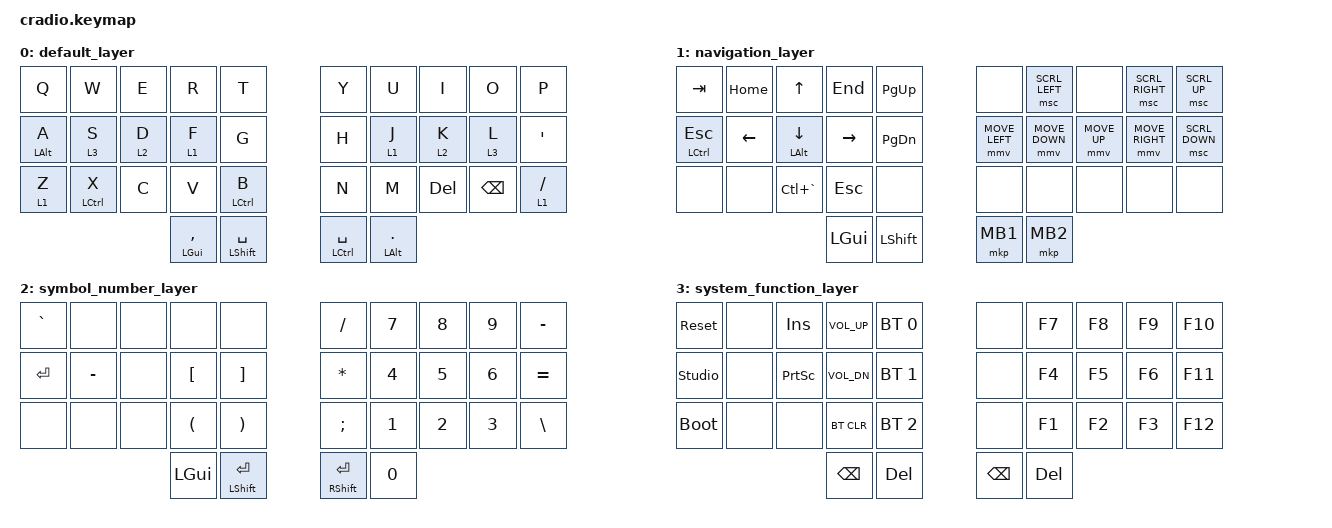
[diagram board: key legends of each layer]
// Copyright (c) 2022 The ZMK Contributors
// SPDX-License-Identifier: MIT

#include <behaviors.dtsi>
#include <dt-bindings/zmk/keys.h>
#include <dt-bindings/zmk/bt.h>
#include <dt-bindings/zmk/mouse.h>

// Top speed, not constant speed - see the &mmv ramp override below
#define ZMK_POINTING_DEFAULT_MOVE_VAL 1400  // default: 600
#define ZMK_POINTING_DEFAULT_SCRL_VAL 20    // default: 10

#include <dt-bindings/zmk/pointing.h>

// Stock &lt has no quick-tap or prior-idle guard, so fast home row rolls
// (df, sd, jk, kl) can fire a layer instead of a letter.
&lt {
    quick-tap-ms = <200>;
    require-prior-idle-ms = <125>;
};

// Longer ramp keeps short taps precise while holds still reach the higher
// top speed set by ZMK_POINTING_DEFAULT_MOVE_VAL.
&mmv {
    time-to-max-speed-ms = <700>;
};

// Home row mods macro
// #define HRML(k1,k2,k3,k4) &ht LSHFT k1  &ht LALT k2  &ht LCTRL k3  &ht LGUI k4
// #define HRMR(k1,k2,k3,k4) &ht RGUI k1  &ht RCTRL k2  &ht RALT k3  &ht RSHFT k4

/ {
    
    behaviors {
        rpi: require_prior_idle {
            compatible = "zmk,behavior-hold-tap";
            #binding-cells = <2>;
            flavor = "tap-preferred";
            tapping-term-ms = <200>;
            quick-tap-ms = <200>;
            require-prior-idle-ms = <100>;
            bindings = <&kp>, <&kp>;
        };
        rpit: require_prior_idle_thumb {
            compatible = "zmk,behavior-hold-tap";
            #binding-cells = <2>;
            flavor = "tap-preferred";
            tapping-term-ms = <200>;
            quick-tap-ms = <200>;
            require-prior-idle-ms = <50>;
            bindings = <&kp>, <&kp>;
        };

    };

    // conditional_layers {
    //     compatible = "zmk,conditional-layers";
    //     tri_layer {
    //         if-layers = <1 2>;
    //         then-layer = <3>;
    //     };
    // };
   

    keymap {
        compatible = "zmk,keymap";
        default_layer {
            bindings = <
        //╭──────────┬──────────┬──────────┬──────────┬──────────╮   ╭──────────┬──────────┬──────────┬──────────┬──────────╮
        //│  Q       │  W       │  E       │  R       │  T       │   │  Y       │  U       │  I       │  O       │  P       │
          &kp Q    &kp W      &kp E      &kp R      &kp T          &kp Y      &kp U      &kp I      &kp O      &kp P
        //├──────────┼──────────┼──────────┼──────────┼──────────┤   ├──────────┼──────────┼──────────┼──────────┼──────────┤
        //│  A       │  S       │  D       │  F       │  G       │   │  H       │  J       │  K       │  L       │   '      │
           &rpi LALT A  &lt 3 S    &lt 2 D     &lt 1 F    &kp G          &kp H     &lt 1 J    &lt 2 K     &lt 3 L  &kp SQT
        //├──────────┼──────────┼──────────┼──────────┼──────────┤   ├──────────┼──────────┼──────────┼──────────┼──────────┤
        //│  Z       │  X       │  C       │  V       │  B       │   │  N       │  M       │          │          │ / ?      │
            &lt 1 Z  &rpi LCTRL X  &kp C      &kp V    &rpi LCTRL B     &kp N      &kp M    &kp DEL  &kp BSPC   &lt 1 FSLH
        //╰──────────┴──────────┴──────────┼──────────┼──────────┤   ├──────────┼──────────┼──────────┴──────────┴──────────╯
                                 &rpit LGUI COMMA &rpit LSHFT SPACE &rpit LCTRL SPACE &rpit LALT DOT
        //                                 ╰──────────┴──────────╯   ╰──────────┴──────────╯
            >;
        };

        navigation_layer {
            bindings = <
        //╭──────────┬──────────┬──────────┬──────────┬──────────╮   ╭──────────┬──────────┬──────────┬──────────┬──────────╮
        //│          │         │           │          │          │   │          │          │          │          │          │
            &kp TAB    &kp HOME   &kp UP    &kp END    &kp PAGE_UP          &none  &msc SCRL_LEFT  &none  &msc SCRL_RIGHT &msc SCRL_UP
        //├──────────┼──────────┼──────────┼──────────┼──────────┤   ├──────────┼──────────┼──────────┼──────────┼──────────┤
        //│          │          │          │          │          │   │          │          │          │          │          │
    &rpi LCTRL ESC  &kp LEFT  &rpi LALT DOWN &kp RIGHT &kp PAGE_DOWN &mmv MOVE_LEFT &mmv MOVE_DOWN &mmv MOVE_UP &mmv MOVE_RIGHT &msc SCRL_DOWN
        //├──────────┼──────────┼──────────┼──────────┼──────────┤   ├──────────┼──────────┼──────────┼──────────┼──────────┤
        //│          │          │          │          │          │   │          │          │          │          │          │
           &none      &none     &kp LC(GRAVE) &kp ESC     &none         &none     &none     &none     &none       &none
        //╰──────────┴──────────┴──────────┼──────────┼──────────┤   ├──────────┼──────────┼──────────┴──────────┴──────────╯
                                             &kp LGUI &kp LSHFT        &mkp MB1  &mkp MB2
        //                                 ╰──────────┴──────────╯   ╰──────────┴──────────╯
            >;
        };

        symbol_number_layer {
            bindings = <
        //╭──────────┬──────────┬──────────┬──────────┬──────────╮   ╭──────────┬──────────┬──────────┬──────────┬──────────╮
        //│          │          │          │          │          │   │          │          │          │          │          │
            &kp GRAVE  &none      &none     &none      &none         &kp FSLH   &kp N7     &kp N8     &kp N9    &kp MINUS
        //├──────────┼──────────┼──────────┼──────────┼──────────┤   ├──────────┼──────────┼──────────┼──────────┼──────────┤
        //│          │          │          │          │          │   │          │          │          │          │          │
            &kp ENTER  &kp MINUS  &none     &kp LBKT   &kp RBKT      &kp ASTRK  &kp N4     &kp N5     &kp N6    &kp EQUAL
        //├──────────┼──────────┼──────────┼──────────┼──────────┤   ├──────────┼──────────┼──────────┼──────────┼──────────┤
        //│          │          │          │          │          │   │          │          │          │          │          │
            &none     &none      &none       &kp LPAR   &kp RPAR      &kp SEMI    &kp N1     &kp N2     &kp N3    &kp BSLH
        //╰──────────┴──────────┴──────────┼──────────┼──────────┤   ├──────────┼──────────┼──────────┴──────────┴──────────╯
                                         &kp LGUI &rpit LSHFT ENTER &rpit RSHFT ENTER &kp N0
        //                                 ╰──────────┴──────────╯   ╰──────────┴──────────╯
            >;
        };

        system_function_layer {
            bindings = <
        //╭──────────┬──────────┬──────────┬──────────┬──────────╮   ╭──────────┬──────────┬──────────┬──────────┬──────────╮
        //│ RESET    │          │          │          │PROFILE 0 │   │          │          │          │          │          │
           &sys_reset  &none     &kp INS   &kp C_VOL_UP &bt BT_SEL 0    &none     &kp F7     &kp F8     &kp F9    &kp F10
        //├──────────┼──────────┼──────────┼──────────┼──────────┤   ├──────────┼──────────┼──────────┼──────────┼──────────┤
        //│          │          │          │          │PROFILE 1 │   │          │          │          │          │          │
         &studio_unlock &none   &kp PSCRN &kp C_VOL_DN &bt BT_SEL 1     &none     &kp F4     &kp F5     &kp F6    &kp F11
        //├──────────┼──────────┼──────────┼──────────┼──────────┤   ├──────────┼──────────┼──────────┼──────────┼──────────┤
        //│          │          │          │ CLEAR BT │PROFILE 2 │   │          │          │          │          │          │
           &bootloader  &none     &none   &bt BT_CLR &bt BT_SEL 2      &none     &kp F1     &kp F2     &kp F3     &kp F12
        //╰──────────┴──────────┴──────────┼──────────┼──────────┤   ├──────────┼──────────┼──────────┴──────────┴──────────╯
                                             &kp BSPC    &kp DEL       &kp BSPC    &kp DEL
        //                                 ╰──────────┴──────────╯   ╰──────────┴──────────╯
            >;
        };
    };
};
